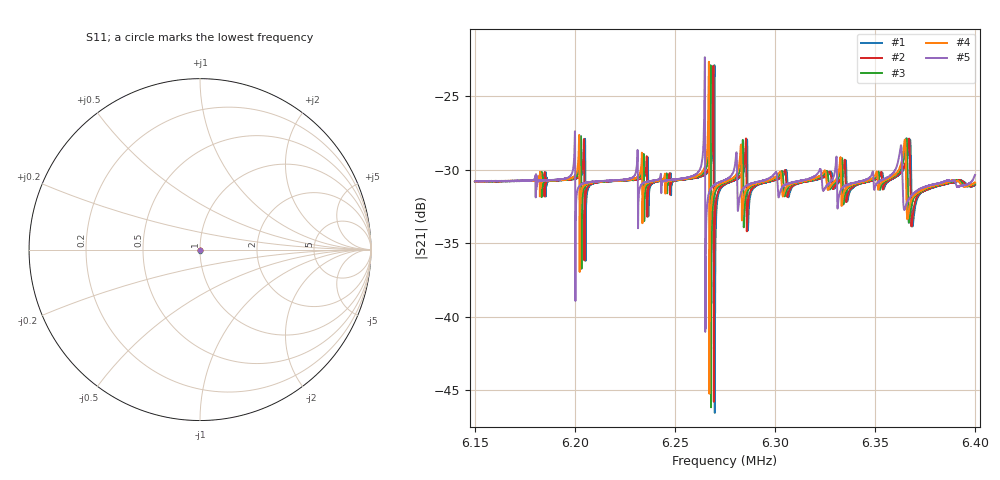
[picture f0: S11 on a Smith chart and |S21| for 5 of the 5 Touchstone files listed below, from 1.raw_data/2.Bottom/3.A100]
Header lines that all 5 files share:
!CETC41,AV3656A,ZGL00048,1.3.2
!Calibration ON (Full Solt 2-Port(Omit Isolation))
!Measurements: S11 S21 S12 S22
# Hz  S  dB  R 50.000
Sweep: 6.15 MHz to 6.4 MHz
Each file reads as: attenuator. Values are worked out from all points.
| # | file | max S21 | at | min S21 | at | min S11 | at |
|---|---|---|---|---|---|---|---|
| 1 | A100_25C.s2p | -22.88 dB | 6.2697 MHz | -46.5 dB | 6.2699 MHz | -45.0 dB | 6.2612 MHz |
| 2 | A100_30C.s2p | -22.92 dB | 6.2692 MHz | -45.8 dB | 6.2694 MHz | -46.3 dB | 6.2719 MHz |
| 3 | A100_35C.s2p | -22.89 dB | 6.2678 MHz | -46.1 dB | 6.268 MHz | -46.1 dB | 6.278 MHz |
| 4 | A100_40C.s2p | -22.65 dB | 6.267 MHz | -45.2 dB | 6.2671 MHz | -46.2 dB | 6.2753 MHz |
| 5 | A100_50C.s2p | -22.34 dB | 6.2649 MHz | -41.0 dB | 6.2651 MHz | -46.7 dB | 6.2711 MHz |
